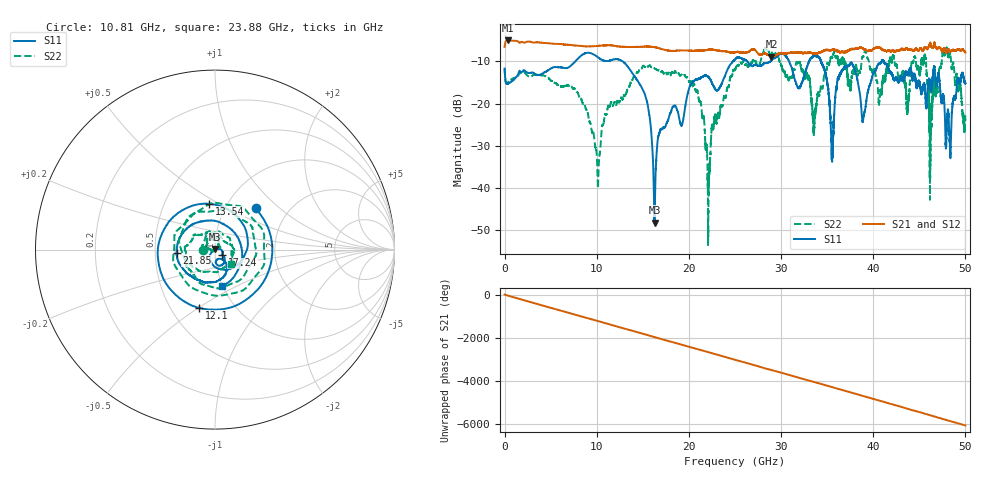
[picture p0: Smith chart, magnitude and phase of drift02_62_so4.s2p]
!Created with skrf (http://scikit-rf.org).
# Hz S RI R 50.0
!freq ReS11 ImS11 ReS21 ImS21 ReS12 ImS12 ReS22 ImS22
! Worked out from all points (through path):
!   10001 points, 300 kHz to 50 GHz, reference 50 ohm
!   highest |S21| = -5.04 dB at 325.3 MHz (marker M1); lowest = -8.9 dB at 28.96 GHz (marker M2)
!   group delay of S21, straight-line fit = 336 ps
!   lowest |S11| = -48.2 dB at 16.27 GHz (marker M3), VSWR 1.01, Z = 49.9 + j0.365 ohm
!   |S11| at or under -10 dB: start of sweep to 7.668 GHz; 12.81 GHz to 24.78 GHz (11.96 GHz wide, 63.6 % of centre); 41.13 GHz to end of sweep (the widest 3 of 11)
!   |S22| runs from -53.8 to -6.7 dB; largest |S21 - S12| = 0.031
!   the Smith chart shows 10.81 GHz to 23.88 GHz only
!   S11 on the Smith chart (normalised r, x): 10.81 GHz: 1.38, +0.70; 12.1 GHz: 0.69, -0.50; 13.54 GHz: 0.82, +0.45; 17.24 GHz: 1.08, -0.07; 21.85 GHz: 0.65, -0.03; 23.88 GHz: 0.99, -0.42
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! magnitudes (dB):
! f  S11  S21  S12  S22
! 300 kHz  -11.7  -6.5  -6.5  -11.7
! 325.3 MHz  -15.3  -5.0  -5.0  -15.1
! 8.335 GHz  -8.6  -6.4  -6.4  -19.1
! 10.11 GHz  -9.0  -6.3  -6.3  -38.9
! 10.81 GHz  -9.8  -6.2  -6.2  -23.6
! 12.1 GHz  -9.5  -6.4  -6.4  -20.4
! 13.54 GHz  -11.8  -6.6  -6.6  -15.9
! 16.27 GHz  -48.2  -6.6  -6.6  -11.7
! 16.67 GHz  -27.9  -6.8  -6.8  -12.1
! 17.24 GHz  -25.7  -7.2  -7.2  -12.8
! 21.85 GHz  -13.3  -7.3  -7.3  -30.4
! 23.88 GHz  -13.6  -7.6  -7.6  -18.4
! 25 GHz  -9.5  -7.8  -7.8  -12.0
! 28.96 GHz  -9.8  -8.9  -8.9  -8.0
! 33.34 GHz  -9.1  -8.0  -8.0  -19.8
! 35.55 GHz  -31.9  -7.2  -7.2  -9.1
! 36.79 GHz  -11.8  -7.8  -7.9  -10.0
! 41.67 GHz  -11.9  -7.4  -7.5  -11.6
! 45.5 GHz  -15.5  -6.9  -6.9  -9.7
! 46.25 GHz  -17.4  -6.1  -6.1  -21.9
! 48.12 GHz  -22.4  -7.2  -7.2  -9.0
! 50 GHz  -15.2  -7.9  -7.9  -23.0
